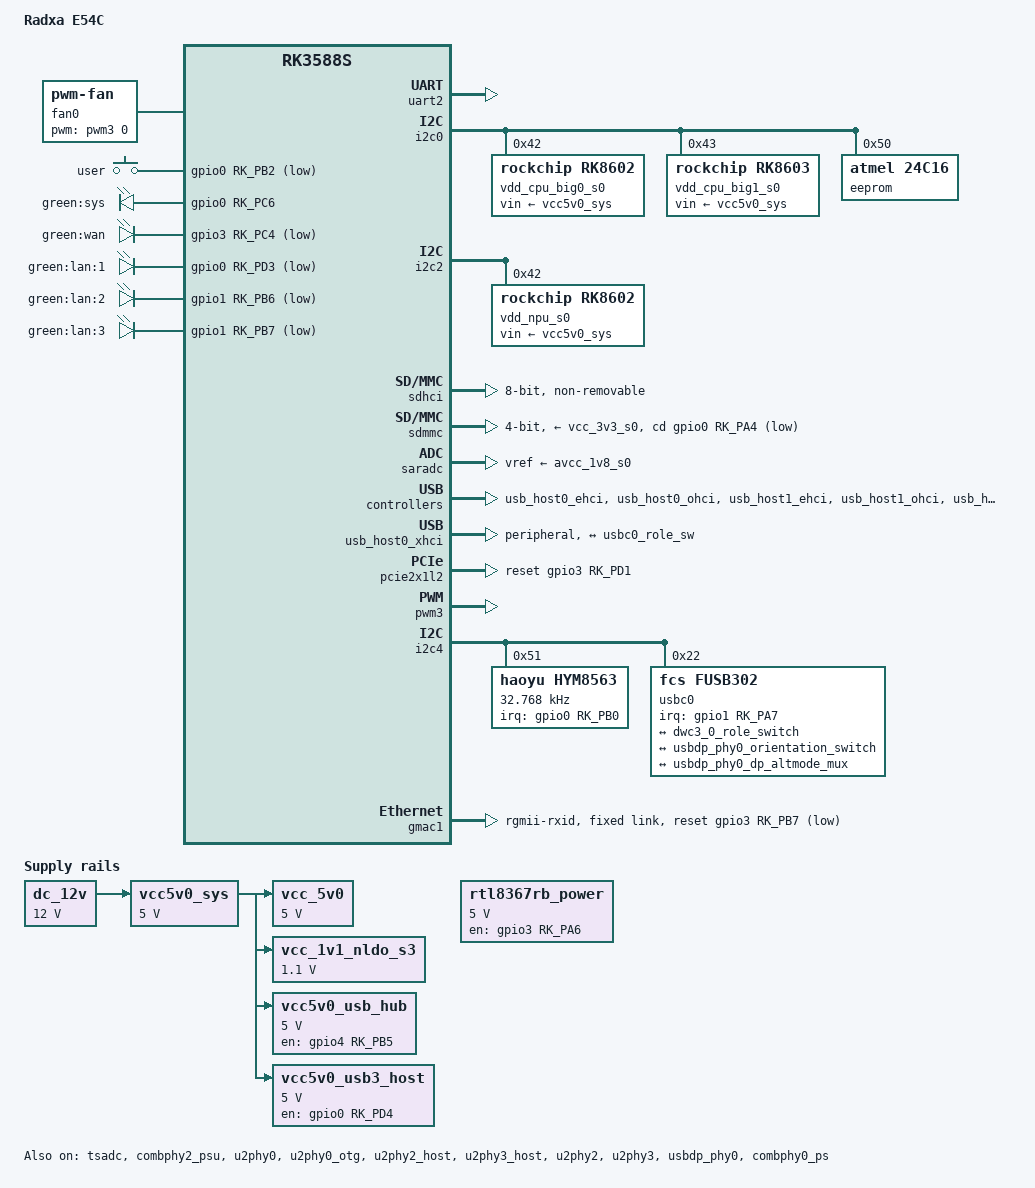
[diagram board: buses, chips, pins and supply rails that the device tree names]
// SPDX-License-Identifier: (GPL-2.0+ OR MIT)
/*
 * Copyright (c) 2022 Rockchip Electronics Co., Ltd.
 * Copyright (c) 2024 Radxa Limited
 * Copyright (c) 2025 jjm2473
 *
 */

/dts-v1/;

#include <dt-bindings/usb/pd.h>
#include <dt-bindings/gpio/gpio.h>
#include <dt-bindings/input/input.h>
#include <dt-bindings/leds/common.h>
#include <dt-bindings/pwm/pwm.h>
#include <dt-bindings/pinctrl/rockchip.h>
#include <rockchip/rk3588s.dtsi>
#include "rk3588-rk806-single.dtsi"
#include "rk3588s-ip.dtsi"
#include "rk3588s-ip-supply.dtsi"

#include "rk3588-ramoops.dtsi"

/ {
	model = "Radxa E54C";
	compatible = "radxa,e54c", "rockchip,rk3588s";

	aliases {
		ethernet0 = &gmac1;
		/delete-property/ ethernet1;

		mmc0 = &sdmmc;
		mmc1 = &sdhci;

		led-boot = &sys_led;
		led-failsafe = &sys_led;
		led-running = &sys_led;
		led-upgrade = &sys_led;
	};

	fan0: pwm-fan {
		compatible = "pwm-fan";
		#cooling-cells = <2>;
		cooling-levels = <0 64 128 192 255>;
		pwms = <&pwm3 0 10000 0>;
	};

	dc_12v: dc-12v {
		compatible = "regulator-fixed";
		regulator-name = "vcc5v0_sys";
		regulator-always-on;
		regulator-boot-on;
		regulator-min-microvolt = <12000000>;
		regulator-max-microvolt = <12000000>;
	};

	vcc5v0_sys: vcc5v0-sys {
		compatible = "regulator-fixed";
		regulator-name = "vcc5v0_sys";
		regulator-min-microvolt = <5000000>;
		regulator-max-microvolt = <5000000>;
		regulator-always-on;
		regulator-boot-on;
		vin-supply = <&dc_12v>;
	};

	vcc_5v0: vcc-5v0 {
		compatible = "regulator-fixed";
		regulator-name = "vcc_5v0";
		regulator-min-microvolt = <5000000>;
		regulator-max-microvolt = <5000000>;
		regulator-boot-on;
		regulator-always-on;
		vin-supply = <&vcc5v0_sys>;
	};

	vcc_1v1_nldo_s3: vcc-1v1-nldo-s3 {
		compatible = "regulator-fixed";
		regulator-name = "vcc_1v1_nldo_s3";
		regulator-always-on;
		regulator-boot-on;
		regulator-min-microvolt = <1100000>;
		regulator-max-microvolt = <1100000>;
		vin-supply = <&vcc5v0_sys>;
	};

	vcc5v0_usb_hub: vcc5v0-usb-hub-regulator {
		compatible = "regulator-fixed";
		regulator-name = "vcc5v0_usb_hub";
		regulator-min-microvolt = <5000000>;
		regulator-max-microvolt = <5000000>;
		enable-active-high;
		gpio = <&gpio4 RK_PB5 GPIO_ACTIVE_HIGH>;
		pinctrl-names = "default";
		pinctrl-0 = <&vcc5v0_usb_hub_en>;
		vin-supply = <&vcc5v0_sys>;
	};

	vcc5v0_usb3_host: vcc5v0-usb3-host-regulator {
		compatible = "regulator-fixed";
		regulator-name = "vcc5v0_usb3_host";
		regulator-min-microvolt = <5000000>;
		regulator-max-microvolt = <5000000>;
		enable-active-high;
		gpio = <&gpio0 RK_PD4 GPIO_ACTIVE_HIGH>;
		pinctrl-names = "default";
		pinctrl-0 = <&vcc5v0_usb3_host_en>;
		vin-supply = <&vcc5v0_sys>;
	};

	gpio-keys {
		compatible = "gpio-keys";
		pinctrl-names = "default";
		pinctrl-0 = <&user_key>;

		user-key {
			gpios = <&gpio0 RK_PB2 GPIO_ACTIVE_LOW>;
			debounce-interval = <50>;
			label = "user";
			linux,code = <KEY_RESTART>;
		};
	};

	gpio-leds {
		compatible = "gpio-leds";

		sys_led: sys-led {
			gpios = <&gpio0 RK_PC6 GPIO_ACTIVE_HIGH>;
			label = "green:sys";
			linux,default-trigger = "heartbeat";
		};

		wan-led {
			gpios = <&gpio3 RK_PC4 GPIO_ACTIVE_LOW>;
			label = "green:wan";
			linux,default-trigger = "netdev";
		};

		lan1-led {
			gpios = <&gpio0 RK_PD3 GPIO_ACTIVE_LOW>;
			label = "green:lan:1";
			linux,default-trigger = "netdev";
		};

		lan2-led {
			gpios = <&gpio1 RK_PB6 GPIO_ACTIVE_LOW>;
			label = "green:lan:2";
			linux,default-trigger = "netdev";
		};

		lan3-led {
			gpios = <&gpio1 RK_PB7 GPIO_ACTIVE_LOW>;
			label = "green:lan:3";
			linux,default-trigger = "netdev";
		};
	};
};

&uart2 {
	pinctrl-0 = <&uart2m0_xfer>;
	status = "okay";
};

&i2c0 {
	status = "okay";
	pinctrl-names = "default";
	pinctrl-0 = <&i2c0m2_xfer>;

	vdd_cpu_big0_s0: regulator@42 {
		compatible = "rockchip,rk8602";
		reg = <0x42>;
		fcs,suspend-voltage-selector = <1>;
		regulator-always-on;
		regulator-boot-on;
		regulator-min-microvolt = <550000>;
		regulator-max-microvolt = <1050000>;
		regulator-name = "vdd_cpu_big0_s0";
		regulator-ramp-delay = <2300>;
		vin-supply = <&vcc5v0_sys>;

		regulator-state-mem {
			regulator-off-in-suspend;
		};
	};

	vdd_cpu_big1_s0: regulator@43 {
		compatible = "rockchip,rk8603", "rockchip,rk8602";
		reg = <0x43>;
		fcs,suspend-voltage-selector = <1>;
		regulator-always-on;
		regulator-boot-on;
		regulator-min-microvolt = <550000>;
		regulator-max-microvolt = <1050000>;
		regulator-name = "vdd_cpu_big1_s0";
		regulator-ramp-delay = <2300>;
		vin-supply = <&vcc5v0_sys>;

		regulator-state-mem {
			regulator-off-in-suspend;
		};
	};

	eeprom:	bl24c16@50 {
		status = "okay";
		compatible = "atmel,24c16";
		reg = <0x50>;
		pagesize = <16>;
	};
};

&i2c2 {
	status = "okay";
	pinctrl-names = "default";
	pinctrl-0 = <&i2c2m0_xfer>;

	vdd_npu_s0: regulator@42 {
		compatible = "rockchip,rk8602";
		reg = <0x42>;
		fcs,suspend-voltage-selector = <1>;
		regulator-always-on;
		regulator-boot-on;
		regulator-min-microvolt = <550000>;
		regulator-max-microvolt = <950000>;
		regulator-name = "vdd_npu_s0";
		regulator-ramp-delay = <2300>;
		vin-supply = <&vcc5v0_sys>;

		regulator-state-mem {
			regulator-off-in-suspend;
		};
	};
};

/* CPU */
&cpu_b0 {
	cpu-supply = <&vdd_cpu_big0_s0>;
};

&cpu_b1 {
	cpu-supply = <&vdd_cpu_big0_s0>;
};

&cpu_b2 {
	cpu-supply = <&vdd_cpu_big1_s0>;
};

&cpu_b3 {
	cpu-supply = <&vdd_cpu_big1_s0>;
};

&cpu_l0 {
	cpu-supply = <&vdd_cpu_lit_s0>;
};

&cpu_l1 {
	cpu-supply = <&vdd_cpu_lit_s0>;
};

&cpu_l2 {
	cpu-supply = <&vdd_cpu_lit_s0>;
};

&cpu_l3 {
	cpu-supply = <&vdd_cpu_lit_s0>;
};

/* eMMC */
&sdhci {
	bus-width = <8>;
	no-sdio;
	no-sd;
	non-removable;
	mmc-hs200-1_8v;
	mmc-hs400-1_8v;
	mmc-hs400-enhanced-strobe;
	status = "okay";
};

/* SD */
&sdmmc {
	no-sdio;
	no-mmc;
	bus-width = <4>;
	cap-sd-highspeed;
	disable-wp;
	sd-uhs-sdr104;
	vmmc-supply = <&vcc_3v3_s0>;
	vqmmc-supply = <&vccio_sd_s0>;
	cd-gpios = <&gpio0 RK_PA4 GPIO_ACTIVE_LOW>;
	status = "okay";
};

/* ADC */
&tsadc {
	status = "okay";
};

&saradc {
	status = "okay";
	vref-supply = <&avcc_1v8_s0>;
};

/* USB */
// for usb 3.0 host
&combphy2_psu {
	status = "okay";
};

// for type-c port
&u2phy0 {
	status = "okay";
};

&u2phy0_otg {
//	vbus-supply = <&vcc5v0_otg>;
	status = "okay";
};

// for usb 2.0 host 1
&u2phy2_host {
	status = "okay";
	phy-supply = <&vcc5v0_usb_hub>;
};

// for usb 2.0 host 2 => usb3.0 port
&u2phy3_host {
	status = "okay";
	phy-supply = <&vcc5v0_usb3_host>;
};

&u2phy2 {
	status = "okay";
};

&u2phy3 {
	status = "okay";
};

// usb 2.0 host 1 => usb hub => usb 2.0 x 2
&usb_host0_ehci {
	status = "okay";
};

&usb_host0_ohci {
	status = "okay";
};

// type-c port
&usb_host0_xhci {
	dr_mode = "peripheral";
	status = "okay";
};

// for type-c port
&usbdp_phy0 {
	status = "okay";
};

// usb 2.0 host 2 for usb 3.0 port
&usb_host1_ehci {
	status = "okay";
};

&usb_host1_ohci {
	status = "okay";
};

// usb 3.0 host for usb 3.0 port
&usb_host2_xhci {
	status = "okay";
};

/* M.2 M-KEY */
&combphy0_ps {
	status = "okay";
};

#ifndef E54C_M2_SATA
/* M.2 M-KEY PCIe */
&pcie2x1l2 {
	status = "okay";
	reset-gpios = <&gpio3 RK_PD1 GPIO_ACTIVE_HIGH>;
};

#else
/* M.2 M-KEY SATA */
&sata0 {
	status = "okay";
};
#endif

/* PWM Fan */
&pwm3 {
	status = "okay";
	pinctrl-0 = <&pwm3m1_pins>;
};

&package_thermal {
	polling-delay = <1000>;
	trips {
		package_fan0: package-fan0 {
			temperature = <55000>;
			hysteresis = <2000>;
			type = "active";
		};

		package_fan1: package-fan1 {
			temperature = <65000>;
			hysteresis = <2000>;
			type = "active";
		};
	};
	cooling-maps {
		map1 {
			trip = <&package_fan0>;
			cooling-device =
				<&fan0 THERMAL_NO_LIMIT 1>;
		};
		map2 {
			trip = <&package_fan1>;
			cooling-device =
				<&fan0 2 THERMAL_NO_LIMIT>;
		};
	};
};

&i2c4 {
	status = "okay";
	pinctrl-0 = <&i2c4m2_xfer>;
	#address-cells = <1>;
	#size-cells = <0>;

	hym8563: hym8563@51 {
		compatible = "haoyu,hym8563";
		reg = <0x51>;
		#clock-cells = <0>;
		clock-frequency = <32768>;
		clock-output-names = "hym8563";
		pinctrl-names = "default";
		pinctrl-0 = <&hym8563_int>;
		interrupt-parent = <&gpio0>;
		interrupts = <RK_PB0 IRQ_TYPE_LEVEL_LOW>;
		wakeup-source;
	};
};

&pinctrl {
	usb {
		vcc5v0_usb_hub_en: vcc5v0-usb-hub-en {
			rockchip,pins = <4 RK_PB5 RK_FUNC_GPIO &pcfg_pull_none>;
		};

		vcc5v0_usb3_host_en: vcc5v0-usb3-host-en {
			rockchip,pins = <0 RK_PD4 RK_FUNC_GPIO &pcfg_pull_none>;
		};
	};

	hym8563 {
		hym8563_int: hym8563-int {
			rockchip,pins = <0 RK_PB0 RK_FUNC_GPIO &pcfg_pull_none>;
		};
	};

	keys {
		user_key: user-key {
			rockchip,pins = <0 RK_PB2 RK_FUNC_GPIO &pcfg_pull_up>;
		};
	};

	rtl8367rb {
		rtl8367rb_power_en: rtl8367rb-power-en {
			rockchip,pins = <3 RK_PA6 RK_FUNC_GPIO &pcfg_pull_none>;
		};
	};
};


/ {
	rtl8367rb_power: rtl8367rb-power-regulator {
		compatible = "regulator-fixed";
		regulator-name = "rtl8367rb_power";
		regulator-min-microvolt = <5000000>;
		regulator-max-microvolt = <5000000>;
		enable-active-high;
		regulator-boot-on;
		regulator-always-on;
		gpio = <&gpio3 RK_PA6 GPIO_ACTIVE_HIGH>;
		pinctrl-names = "default";
		pinctrl-0 = <&rtl8367rb_power_en>;
	};

	rtl8367rb {
		compatible = "realtek,rtl8367c", "realtek,rtl8367b";
		cpu_port = <6>;
		cpu-port = <6>;
		realtek,extif1 = <1 0 1 1 1 1 1 1 2>;
		realtek,extif = <6 1 0 1 1 1 1 1 1 2>;
		mii-bus = <&mdio1>;
		phy_id = <29>;
		phy-id = <29>;
	};
};

/* Ethernet */
&mdio1 {

};

&gmac1 {
	status = "okay";
	phy-mode = "rgmii-rxid";
	clock_in_out = "output";

	snps,reset-gpio = <&gpio3 RK_PB7 GPIO_ACTIVE_LOW>;
	snps,reset-active-low;
	// Reset time is 20ms, 100ms for rtl8211f
	snps,reset-delays-us = <0 20000 100000>;

	pinctrl-names = "default";
	pinctrl-0 = <&gmac1_miim
		     &gmac1_tx_bus2
		     &gmac1_rx_bus2
		     &gmac1_rgmii_clk
		     &gmac1_rgmii_bus>;

	tx_delay = <0x3a>;
	// rx_delay = <0>;

	snps,no-vlhash;

	fixed-link {
		speed = <1000>;
		full-duplex;
		pause;
	};
};

// &i2c8 {
// 	status = "okay";
// 	pinctrl-names = "default";
// 	pinctrl-0 = <&i2c8m4_xfer>;
// };

&i2c4 {
	usbc0: fusb302@22 {
		compatible = "fcs,fusb302";
		reg = <0x22>;
		interrupt-parent = <&gpio1>;
		interrupts = <RK_PA7 IRQ_TYPE_LEVEL_LOW>;
		pinctrl-names = "default";
		pinctrl-0 = <&usbc0_int>;
//		vbus-supply = <&vbus5v0_typec>;
		status = "okay";

		ports {
			#address-cells = <1>;
			#size-cells = <0>;

			port@0 {
				reg = <0>;
				usbc0_role_sw: endpoint@0 {
					remote-endpoint = <&dwc3_0_role_switch>;
				};
			};
		};

		usb_con: connector {
			compatible = "usb-c-connector";
			label = "USB-C";
			data-role = "dual";
			power-role = "dual";
			try-power-role = "sink";
			op-sink-microwatt = <1000000>;
			sink-pdos =
				<PDO_FIXED(5000, 1000, PDO_FIXED_USB_COMM)>;
			source-pdos =
				<PDO_FIXED(5000, 3000, PDO_FIXED_USB_COMM)>;

			altmodes {
				#address-cells = <1>;
				#size-cells = <0>;

				altmode@0 {
					reg = <0>;
					svid = <0xff01>;
					vdo = <0xffffffff>;
				};
			};

			ports {
				#address-cells = <1>;
				#size-cells = <0>;

				port@0 {
					reg = <0>;
					usbc0_orien_sw: endpoint {
						remote-endpoint = <&usbdp_phy0_orientation_switch>;
					};
				};

				port@1 {
					reg = <1>;
					dp_altmode_mux: endpoint {
						remote-endpoint = <&usbdp_phy0_dp_altmode_mux>;
					};
				};
			};
		};
	};
};

&usbdp_phy0 {
	mode-switch;
	orientation-switch;
	sbu1-dc-gpios = <&gpio1 RK_PA6 GPIO_ACTIVE_HIGH>;
	sbu2-dc-gpios = <&gpio3 RK_PD5 GPIO_ACTIVE_HIGH>;

	port {
		#address-cells = <1>;
		#size-cells = <0>;

		usbdp_phy0_orientation_switch: endpoint@0 {
			reg = <0>;
			remote-endpoint = <&usbc0_orien_sw>;
		};

		usbdp_phy0_dp_altmode_mux: endpoint@1 {
			reg = <1>;
			remote-endpoint = <&dp_altmode_mux>;
		};
	};
};

&usb_host0_xhci {
	usb-role-switch;

	port {
		dwc3_0_role_switch: endpoint {
			remote-endpoint = <&usbc0_role_sw>;
		};
	};
};

&pinctrl {
	usb-typec {
		usbc0_int: usbc0-int {
			rockchip,pins = <1 RK_PA7 RK_FUNC_GPIO &pcfg_pull_up>;
		};
	};
};
